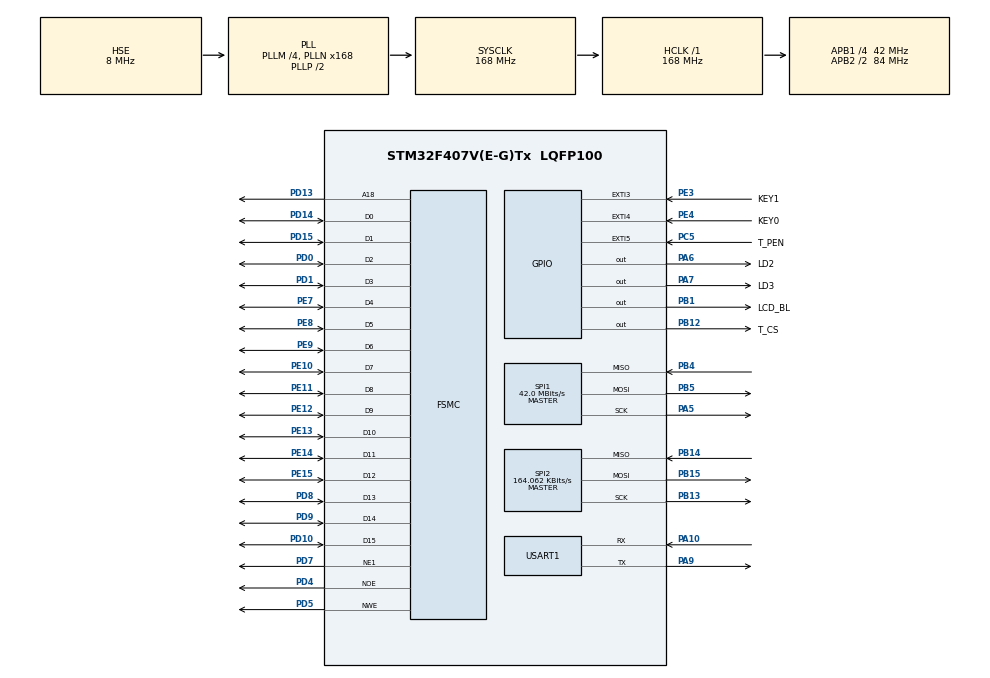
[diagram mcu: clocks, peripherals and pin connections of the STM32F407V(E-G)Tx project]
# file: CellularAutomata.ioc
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FSMC.AddressSetupTime1=1
FSMC.BusTurnAroundDuration1=0
FSMC.DataSetupTime1=5
FSMC.ExtendedMode1=FSMC_EXTENDED_MODE_DISABLE
Mcu.Family=STM32F4
Mcu.Name=STM32F407V(E-G)Tx
Mcu.Package=LQFP100
NVIC.EXTI3_IRQn=true\:0\:0\:false\:false\:true\:true\:true\:true
NVIC.EXTI4_IRQn=true\:0\:0\:false\:false\:true\:true\:true\:true
NVIC.EXTI9_5_IRQn=true\:0\:0\:false\:false\:true\:true\:true\:true
NVIC.PriorityGroup=NVIC_PRIORITYGROUP_4
NVIC.TIM6_DAC_IRQn=true\:0\:0\:false\:false\:true\:true\:true\:true
NVIC.TIM7_IRQn=true\:0\:0\:false\:false\:true\:true\:true\:true
PA10.Mode=Asynchronous
PA10.Signal=USART1_RX
PA13.Mode=Serial_Wire
PA13.Signal=SYS_JTMS-SWDIO
PA14.Mode=Serial_Wire
PA14.Signal=SYS_JTCK-SWCLK
PA5.Mode=Full_Duplex_Master
PA5.Signal=SPI1_SCK
PA6.GPIO_Label=LD2
PA6.PinState=GPIO_PIN_SET
PA6.Signal=GPIO_Output
PA7.GPIO_Label=LD3
PA7.PinState=GPIO_PIN_SET
PA7.Signal=GPIO_Output
PA9.Mode=Asynchronous
PA9.Signal=USART1_TX
PB1.GPIO_Label=LCD_BL
PB1.Signal=GPIO_Output
PB12.GPIO_Label=T_CS
PB12.GPIO_PuPd=GPIO_PULLUP
PB12.PinState=GPIO_PIN_SET
PB12.Signal=GPIO_Output
PB13.Mode=Full_Duplex_Master
PB13.Signal=SPI2_SCK
PB14.Mode=Full_Duplex_Master
PB14.Signal=SPI2_MISO
PB15.Mode=Full_Duplex_Master
PB15.Signal=SPI2_MOSI
PB4.Mode=Full_Duplex_Master
PB4.Signal=SPI1_MISO
PB5.Mode=Full_Duplex_Master
PB5.Signal=SPI1_MOSI
PC14-OSC32_IN.Mode=LSE-External-Oscillator
PC14-OSC32_IN.Signal=RCC_OSC32_IN
PC15-OSC32_OUT.Mode=LSE-External-Oscillator
PC15-OSC32_OUT.Signal=RCC_OSC32_OUT
PC5.GPIO_Label=T_PEN
PC5.GPIO_ModeDefaultEXTI=GPIO_MODE_IT_FALLING
PC5.GPIO_PuPd=GPIO_PULLUP
PC5.Signal=GPXTI5
PD0.Mode=16b-d1
PD0.Signal=FSMC_D2
PD1.Mode=16b-d1
PD1.Signal=FSMC_D3
PD10.Mode=16b-d1
PD10.Signal=FSMC_D15
PD13.Mode=A18_1
PD13.Signal=FSMC_A18
PD14.Mode=16b-d1
PD14.Signal=FSMC_D0
PD15.Mode=16b-d1
PD15.Signal=FSMC_D1
PD4.Mode=Lcd1
PD4.Signal=FSMC_NOE
PD5.Mode=Lcd1
PD5.Signal=FSMC_NWE
PD7.Mode=NorPsramChipSelect1_1
PD7.Signal=FSMC_NE1
PD8.Mode=16b-d1
PD8.Signal=FSMC_D13
PD9.Mode=16b-d1
PD9.Signal=FSMC_D14
PE10.Mode=16b-d1
PE10.Signal=FSMC_D7
PE11.Mode=16b-d1
PE11.Signal=FSMC_D8
PE12.Mode=16b-d1
PE12.Signal=FSMC_D9
PE13.Mode=16b-d1
PE13.Signal=FSMC_D10
PE14.Mode=16b-d1
PE14.Signal=FSMC_D11
PE15.Mode=16b-d1
PE15.Signal=FSMC_D12
PE3.GPIO_Label=KEY1
PE3.GPIO_ModeDefaultEXTI=GPIO_MODE_IT_FALLING
PE3.GPIO_PuPd=GPIO_PULLUP
PE3.Signal=GPXTI3
PE4.GPIO_Label=KEY0
PE4.GPIO_ModeDefaultEXTI=GPIO_MODE_IT_FALLING
PE4.GPIO_PuPd=GPIO_PULLUP
PE4.Signal=GPXTI4
PE7.Mode=16b-d1
PE7.Signal=FSMC_D4
PE8.Mode=16b-d1
PE8.Signal=FSMC_D5
PE9.Mode=16b-d1
PE9.Signal=FSMC_D6
PH0-OSC_IN.Mode=HSE-External-Oscillator
PH0-OSC_IN.Signal=RCC_OSC_IN
PH1-OSC_OUT.Mode=HSE-External-Oscillator
PH1-OSC_OUT.Signal=RCC_OSC_OUT
ProjectManager.HeapSize=0x200
ProjectManager.StackSize=0x400
ProjectManager.TargetToolchain=STM32CubeIDE
RCC.48MHZClocksFreq_Value=84000000
RCC.AHBFreq_Value=168000000
RCC.APB1CLKDivider=RCC_HCLK_DIV4
RCC.APB1Freq_Value=42000000
RCC.APB1TimFreq_Value=84000000
RCC.APB2CLKDivider=RCC_HCLK_DIV2
RCC.APB2Freq_Value=84000000
RCC.APB2TimFreq_Value=168000000
RCC.CortexFreq_Value=168000000
RCC.HCLKFreq_Value=168000000
RCC.HSE_VALUE=8000000
RCC.HSI_VALUE=16000000
RCC.PLLM=4
RCC.PLLN=168
RCC.PLLSourceVirtual=RCC_PLLSOURCE_HSE
RCC.RCC_RTC_Clock_Source=RCC_RTCCLKSOURCE_LSE
RCC.RCC_RTC_Clock_SourceVirtual=RCC_RTCCLKSOURCE_LSE
RCC.SYSCLKFreq_VALUE=168000000
RCC.SYSCLKSource=RCC_SYSCLKSOURCE_PLLCLK
RCC.VCOOutputFreq_Value=336000000
SPI1.CalculateBaudRate=42.0 MBits/s
SPI1.Direction=SPI_DIRECTION_2LINES
SPI1.Mode=SPI_MODE_MASTER
SPI1.VirtualType=VM_MASTER
SPI2.BaudRatePrescaler=SPI_BAUDRATEPRESCALER_256
SPI2.CalculateBaudRate=164.062 KBits/s
SPI2.DataSize=SPI_DATASIZE_8BIT
SPI2.Direction=SPI_DIRECTION_2LINES
SPI2.Mode=SPI_MODE_MASTER
SPI2.VirtualType=VM_MASTER
STMicroelectronics.X-CUBE-TOUCHGFX.4.21.4.tgfx_block_size=1920
STMicroelectronics.X-CUBE-TOUCHGFX.4.21.4.tgfx_buffering_strategy=Partial
STMicroelectronics.X-CUBE-TOUCHGFX.4.21.4.tgfx_custom_height=320
STMicroelectronics.X-CUBE-TOUCHGFX.4.21.4.tgfx_custom_width=240
STMicroelectronics.X-CUBE-TOUCHGFX.4.21.4.tgfx_display_interface=disp_fmc
STMicroelectronics.X-CUBE-TOUCHGFX.4.21.4.tgfx_number_of_blocks=5
STMicroelectronics.X-CUBE-TOUCHGFX.4.21.4_IsPackSelfContextualization=true
TIM6.Period=1000
TIM6.Prescaler=7999
TIM7.Period=200
TIM7.Prescaler=7999
USART1.VirtualMode=VM_ASYNC
VP_TIM6_VS_ClockSourceINT.Mode=Enable_Timer
VP_TIM7_VS_ClockSourceINT.Mode=Enable_Timer
board=custom

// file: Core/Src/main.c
/* USER CODE BEGIN Header */
/**
  ******************************************************************************
  * @file           : main.c
  * @brief          : Main program body
  ******************************************************************************
  * @attention
  *
  * Copyright (c) 2024 STMicroelectronics.
  * All rights reserved.
  *
  * This software is licensed under terms that can be found in the LICENSE file
  * in the root directory of this software component.
  * If no LICENSE file comes with this software, it is provided AS-IS.
  *
  ******************************************************************************
  */
/* USER CODE END Header */
#include "main.h"
#include "spi.h"
#include "tim.h"
#include "usart.h"
#include "gpio.h"
#include "fsmc.h"

/* USER CODE BEGIN Includes */
#include "ili9341.h"
#include "XPT2046_touch.h"

#include "touchscreen_button.h"
#include "text_field.h"

#include <stdio.h>
#include <stdbool.h>

/* USER CODE END Includes */

/* USER CODE BEGIN PD */

#define RES_X 240
#define RES_Y 320
#define CA_TOP 40
#define CA_BOTTOM 195

#define MARGIN_X 10
#define MARGIN_Y 10

/* USER CODE END PD */

/* USER CODE BEGIN PV */

const uint16_t color_line = COLOR_WHITE;
const uint16_t color_text = COLOR_WHITE;
const uint16_t color_bg = COLOR_BLACK;

Button button_dec1 = {
	.x = 10, .y = 270,
	.width = 50, .height = 40,
	.font = &Font16,
	.is_pressed = false,
	.color_text = color_bg, .color_bg = color_text,
	.color_text_pressed = color_text, .color_bg_pressed = color_bg,
	.text = "-1"
};

Button button_inc1 = {
	.x = 70, .y = 270,
	.width = 50, .height = 40,
	.font = &Font16,
	.is_pressed = false,
	.color_text = color_bg, .color_bg = color_text,
	.color_text_pressed = color_text, .color_bg_pressed = color_bg,
	.text = "+1"
};

Button button_dec10 = {
	.x = 10, .y = 225,
	.width = 50, .height = 40,
	.font = &Font16,
	.is_pressed = false,
	.color_text = color_bg, .color_bg = color_text,
	.color_text_pressed = color_text, .color_bg_pressed = color_bg,
	.text = "-10"
};

Button button_inc10 = {
	.x = 70, .y = 225,
	.width = 50, .height = 40,
	.font = &Font16,
	.is_pressed = false,
	.color_text = color_bg, .color_bg = color_text,
	.color_text_pressed = color_text, .color_bg_pressed = color_bg,
	.text = "+10"
};

Button button_reset = {
	.x = 140, .y = 245,
	.width = 90, .height = 30,
	.font = &Font16,
	.is_pressed = false,
	.color_text = color_bg, .color_bg = color_text,
	.color_text_pressed = color_text, .color_bg_pressed = color_bg,
	.text = "RESET"
};

Button button_pause = {
	.x = 140, .y = 280,
	.width = 90, .height = 30,
	.font = &Font16,
	.is_pressed = false,
	.color_text = color_bg, .color_bg = color_text,
	.color_text_pressed = color_text, .color_bg_pressed = color_bg,
	.text = "PAUSE"
};

Button button_help = {
	.x = 200, .y = 210,
	.width = 30, .height = 30,
	.font = &Font16,
	.is_pressed = false,
	.color_text = color_bg, .color_bg = color_text,
	.color_text_pressed = color_text, .color_bg_pressed = color_bg,
	.text = "?"
};

TextField text_rule = {
	.x = 140, .y = 210,
	.width = 50, .height = 30,
	.font = &Font20,
	.color_text = color_text, .color_bg = color_bg, .color_frame = color_bg,
	.text = "22",
	.horizontal_alignment = ALIGN_CENTER,
	.vertical_alignment = ALIGN_CENTER,
};

TextField text_help = {
	.x = 0, .y = CA_TOP,
	.width = RES_X, .height = CA_BOTTOM - CA_TOP,
	.font = &Font16,
	.color_text = color_text, .color_bg = color_bg, .color_frame = color_bg,
	.text = "In each row, each\r\npixel's value is \r\ndetermined by its \r\nthree neighbors in\r\nthe preceding row.",
	.horizontal_alignment = ALIGN_CENTER,
	.vertical_alignment = ALIGN_CENTER
};

Button* buttons[] = {&button_inc1,  &button_dec1,
					 &button_inc10, &button_dec10,
					 &button_reset, &button_pause,
					 &button_help};

bool debounce_flag = false;

uint8_t rule = 22;

uint16_t line_no = CA_TOP;
bool array[RES_X];
bool is_paused = false;
bool is_help = false;

uint16_t rainbow[255];

/* USER CODE END PV */

void SystemClock_Config(void);
/* USER CODE BEGIN PFP */

void MakeRainbow(uint16_t rainbow[]);

bool ApplyRule(unsigned char rule, bool bit1, bool bit2, bool bit3);

void ECA(bool * array, unsigned short size, unsigned char rule);

void ArrayToLine(uint16_t graphic_line[], bool array[]);
void MakeLine(bool array[]);
void ResetArray(bool* array, uint16_t size);
void UpdateTextField(TextField* text_rule, uint8_t rule);
void DrawRuleDiagram(uint8_t rule, bool init);
void UpdateRuleDiagram(uint8_t rule);

/* USER CODE END PFP */

int main(void)
{

  /* USER CODE BEGIN 1 */

	MakeRainbow(rainbow);

  /* USER CODE END 1 */

  /* MCU Configuration--------------------------------------------------------*/

  /* Reset of all peripherals, Initializes the Flash interface and the Systick. */
  HAL_Init();

  /* Configure the system clock */
  SystemClock_Config();

  /* Initialize all configured peripherals */
  MX_GPIO_Init();
  MX_FSMC_Init();
  MX_USART1_UART_Init();
  MX_SPI2_Init();
  MX_SPI1_Init();
  MX_TIM6_Init();
  MX_TIM7_Init();
  /* USER CODE BEGIN 2 */
  printf("%8lu: UART is Ok!\r\n", HAL_GetTick() );
// Init LCD
   lcdBacklightOn();
   lcdInit();
    lcdSetOrientation(LCD_ORIENTATION_PORTRAIT_MIRROR);
    lcdFillRGB(color_bg);
    lcdSetTextFont(&Font16);
    lcdSetTextColor(color_text, color_bg);
    lcdSetCursor(0, lcdGetHeight() - lcdGetTextFont()->Height - 1);
//-----------------------------------------

  ResetArray(array, RES_X);

  for (uint8_t i = 0; i < 7; ++i)
  {
	  Button_Draw(buttons[i]);
  }

  TextField_Draw(&text_rule);
  DrawRuleDiagram(rule, true);

  HAL_TIM_Base_Start_IT(&htim7);
  /* USER CODE END 2 */

  /* Infinite loop */
  while (1)
  {

  }
}

void SystemClock_Config(void)
{
  RCC_OscInitTypeDef RCC_OscInitStruct = {0};
  RCC_ClkInitTypeDef RCC_ClkInitStruct = {0};

  /** Configure the main internal regulator output voltage
  */
  __HAL_RCC_PWR_CLK_ENABLE();
  __HAL_PWR_VOLTAGESCALING_CONFIG(PWR_REGULATOR_VOLTAGE_SCALE1);

  /** Initializes the RCC Oscillators according to the specified parameters
  * in the RCC_OscInitTypeDef structure.
  */
  RCC_OscInitStruct.OscillatorType = RCC_OSCILLATORTYPE_HSE;
  RCC_OscInitStruct.HSEState = RCC_HSE_ON;
  RCC_OscInitStruct.PLL.PLLState = RCC_PLL_ON;
  RCC_OscInitStruct.PLL.PLLSource = RCC_PLLSOURCE_HSE;
  RCC_OscInitStruct.PLL.PLLM = 4;
  RCC_OscInitStruct.PLL.PLLN = 168;
  RCC_OscInitStruct.PLL.PLLP = RCC_PLLP_DIV2;
  RCC_OscInitStruct.PLL.PLLQ = 4;
  if (HAL_RCC_OscConfig(&RCC_OscInitStruct) != HAL_OK)
  {
    Error_Handler();
  }

  /** Initializes the CPU, AHB and APB buses clocks
  */
  RCC_ClkInitStruct.ClockType = RCC_CLOCKTYPE_HCLK|RCC_CLOCKTYPE_SYSCLK
                              |RCC_CLOCKTYPE_PCLK1|RCC_CLOCKTYPE_PCLK2;
  RCC_ClkInitStruct.SYSCLKSource = RCC_SYSCLKSOURCE_PLLCLK;
  RCC_ClkInitStruct.AHBCLKDivider = RCC_SYSCLK_DIV1;
  RCC_ClkInitStruct.APB1CLKDivider = RCC_HCLK_DIV4;
  RCC_ClkInitStruct.APB2CLKDivider = RCC_HCLK_DIV2;

  if (HAL_RCC_ClockConfig(&RCC_ClkInitStruct, FLASH_LATENCY_5) != HAL_OK)
  {
    Error_Handler();
  }
}

/* USER CODE BEGIN 4 */
int _write(int file, char *ptr, int len)
{
	HAL_UART_Transmit(&huart1, (uint8_t *) ptr, len, HAL_MAX_DELAY);
	return len;
}

uint16_t RGB(uint16_t red, uint16_t green, uint16_t blue)
{
	return red << 11 | green << 5 | blue;
}

void MakeRainbow(uint16_t rainbow[])
{
	uint8_t i = 0;
	uint16_t red = 31;
	uint16_t green = 0;
	uint16_t blue = 0;

	for(; green < 63; ++green)
	{
		rainbow[i++] = RGB(red, green, blue);
	}

	for(; red > 0; --red)
	{
		rainbow[i++] = RGB(red, green, blue);
	}

	for(; blue < 31; ++blue)
	{
		rainbow[i++] = RGB(red, green, blue);
	}

	for(; green > 0; --green)
	{
		rainbow[i++] = RGB(red, green, blue);
	}

	for(; red < 31; ++red)
	{
		rainbow[i++] = RGB(red, green, blue);
	}

	for(; blue > 0; --blue)
	{
		rainbow[i++] = RGB(red, green, blue);
	}
}

bool ApplyRule(unsigned char rule, bool bit1, bool bit2, bool bit3)
{
    unsigned short neighborhood = bit1 << 2 | bit2 << 1 | bit3;

    return rule & (1 << neighborhood);
}

void ECA(bool* array, unsigned short size, unsigned char rule)
{
    unsigned char buffer[] = {array[size-1], array[0]};
    unsigned char first = array[0];
    for (unsigned short i = 0; i < size - 2; ++i)
    {
        array[i] = ApplyRule(rule, buffer[0], buffer[1], array[i+1]);

        /* Rotate buffer */
        buffer[0] = buffer[1];
        buffer[1] = array[i + 1];
    }

    array[size - 2] = ApplyRule(rule, buffer[0], buffer[1], array[size-1]);
    array[size - 1] = ApplyRule(rule, buffer[1], array[size - 1], first);
}

void ArrayToLine(uint16_t graphic_line[], bool array[])
{
	static uint16_t color_index = 0;
	color_index = (color_index + 1) % 500;

	for (uint16_t i = 0; i < RES_X; ++i)
	{
		if (array[i])
		{
			graphic_line[i] = rainbow[color_index/2];
		}
		else
		{
			graphic_line[i] = color_bg;
		}
	}
}

uint16_t NextLine(uint16_t line_no)
{
	++line_no;
	if (line_no >= CA_BOTTOM)
	{
		line_no = CA_TOP;
	}

	return line_no;
}

void MakeLine(bool array[])
{
	static uint16_t graphic_line[RES_X];

	ArrayToLine(graphic_line, array);
	lcdDrawPixelLine(0, line_no, graphic_line, RES_X);
	ECA(array, RES_X, rule);
	line_no = NextLine(line_no);
	lcdDrawHLine(0, RES_X, line_no, COLOR_WHITE);
}

void ResetArray(bool* array, uint16_t size)
{
	lcdDrawHLine(0, RES_X, line_no, color_bg);
	line_no = CA_TOP;
	for (uint16_t i = 0; i < size; ++i)
	{
		array[i] = 0;
	}

	array[size/2] = 1;
}

void UpdateTextField(TextField* text_rule, uint8_t rule)
{
	static char text[4];
	sprintf(text, "%u", rule);
	TextField_SetText(text_rule, text);
	TextField_Draw(text_rule);
}

void DrawRuleDiagram(uint8_t rule, bool init)
{
	static uint16_t margin_x = 8;
	static uint16_t margin_y = 8;
	static uint16_t size = 8;
	static uint16_t gap = 29; /* = (RES_X - 2*margin_x - 3*size)/7 */
	uint16_t pos = RES_X - margin_x - 3*size;

	if (init)
	{
		for (size_t i = 0; i < 8; ++i)
		{
			if (i & 1)
			{
				lcdFillRect(pos + 2*size, margin_y, size-1, size-1, color_line);
			}
			else
			{
				lcdDrawRect(pos + 2*size, margin_y, size, size, color_line);
			}

			if (i & 2)
			{
				lcdFillRect(pos + size, margin_y, size-1, size-1, color_line);
			}
			else
			{
				lcdDrawRect(pos + size, margin_y, size, size, color_line);
			}

			if (i & 4)
			{
				lcdFillRect(pos, margin_y, size-1, size-1, color_line);
			}
			else
			{
				lcdDrawRect(pos, margin_y, size, size, color_line);
			}

			pos -= gap;
		}
	}

	pos = RES_X - margin_x - 2*size;

	for (size_t i = 0; i < 8; ++i)
	{
		if (rule & (1 << i))
		{
			lcdFillRect(pos, margin_y + size, size-1, size-1, color_line);
		}
		else
		{
			lcdFillRect(pos, margin_y + size - 1, size, size, color_bg);
			lcdDrawRect(pos, margin_y + size - 1, size, size, color_line);
		}

		pos -= gap;
	}
}

void HandlePause(bool is_paused)
{
	if (is_paused)
	{
		Button_SetText(&button_pause, "UNPAUSE");
	}
	else
	{
		Button_SetText(&button_pause, "PAUSE");
	}
}

void RemoveHelp()
{
	text_help.color_text = color_bg;
	TextField_Draw(&text_help);
	text_help.color_text = color_text;
	is_help = false;
	is_paused = false;
}

//void DrawHelp()
//{
//	if (help)
//	{
//		is_paused = true;
//		TextField_Draw(&text_help);
//	}
//	else
//	{
//		is_paused = false;
//
//		RemoveHelp();
//
//		line_no = CA_TOP;
//	}
//
//	HandlePause(is_paused);
//}

void  HAL_GPIO_EXTI_Callback (uint16_t GPIO_Pin)
{
	if (GPIO_Pin == T_PEN_Pin)
	{
		if (XPT2046_TouchPressed())
		{
			if (debounce_flag)
			{
				return;
			}
			debounce_flag = true;
			HAL_TIM_Base_Start_IT(&htim6); /* Start debouncing timer */

			/* Handle button press */
			uint16_t x = 0, y = 0;
			if (!XPT2046_TouchGetCoordinates(&y, &x))
			{
				return;
			}

			y = lcdGetHeight() - y; /* The display is flipped */

			if (Button_IsPressed(&button_inc1, x, y))
			{
				Button_SetState(&button_inc1, true);
				Button_Draw(&button_inc1);

				if (rule < 255)
				{
					++rule;
				}
				UpdateTextField(&text_rule, rule);
				DrawRuleDiagram(rule, false);
			}
			else if (Button_IsPressed(&button_dec1, x, y))
			{
				Button_SetState(&button_dec1, true);
				Button_Draw(&button_dec1);

				if (rule > 0)
				{
					--rule;
				}
				UpdateTextField(&text_rule, rule);
				DrawRuleDiagram(rule, false);
			}
			else if (Button_IsPressed(&button_inc10, x, y))
			{
				Button_SetState(&button_inc10, true);
				Button_Draw(&button_inc10);

				if (rule < 245)
				{
					rule += 10;
				}
				UpdateTextField(&text_rule, rule);
				DrawRuleDiagram(rule, false);
			}
			else if (Button_IsPressed(&button_dec10, x, y))
			{
				Button_SetState(&button_dec10, true);
				Button_Draw(&button_dec10);

				if (rule > 10)
				{
					rule -= 10;
				}
				UpdateTextField(&text_rule, rule);
				DrawRuleDiagram(rule, false);
			}
			else if (Button_IsPressed(&button_reset, x, y))
			{
				Button_SetState(&button_reset, true);
				Button_Draw(&button_reset);

				if (is_help)
				{
					RemoveHelp();
				}

				ResetArray(array, RES_X);

				is_paused = false;
				HandlePause(false);
			}
			else if (Button_IsPressed(&button_pause, x, y))
			{
				Button_SetState(&button_pause, true);
				Button_Draw(&button_pause);

				if (is_help)
				{
					RemoveHelp();
				}
				else
				{
					is_paused = !is_paused;
				}

				HandlePause(is_paused);
			}
			else if (Button_IsPressed(&button_help, x, y))
			{
				if (is_help)
				{
					RemoveHelp();
				}
				else
				{
					is_paused = true;
					is_help = true;
					ResetArray(array, RES_X);
					TextField_Draw(&text_help);
				}
				HandlePause(is_paused);
			}
		}
		else
		{
			/* Handle button release */
			Button_SetState(&button_inc1, false);
			Button_Draw(&button_inc1);
			Button_SetState(&button_dec1, false);
			Button_Draw(&button_dec1);
			Button_SetState(&button_inc10, false);
			Button_Draw(&button_inc10);
			Button_SetState(&button_dec10, false);
			Button_Draw(&button_dec10);
			Button_SetState(&button_reset, false);
			Button_Draw(&button_reset);
			Button_SetState(&button_pause, false);
			Button_Draw(&button_pause);
			Button_SetState(&button_help, false);
			Button_Draw(&button_help);
			return;
		}
	}
}

void HAL_TIM_PeriodElapsedCallback(TIM_HandleTypeDef *htim)
{
	if (htim == &htim7 && !is_paused)
	{
		MakeLine(array);
	}
	else if (htim == &htim6)
	{
		HAL_TIM_Base_Stop_IT(&htim6);
		debounce_flag = false;
	}
}

//----------------------------------------------------

/* USER CODE END 4 */

void Error_Handler(void)
{
  __disable_irq();
  while (1)
  {
  }
}
